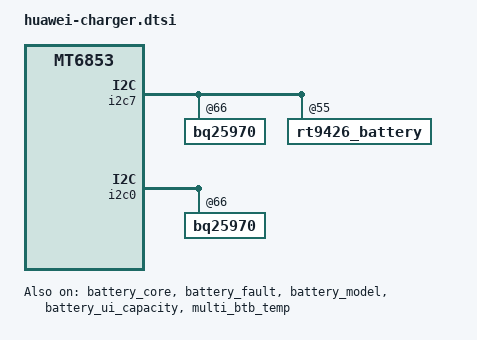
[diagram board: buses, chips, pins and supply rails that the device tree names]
#include "../huawei_charger/mt6853_jlh_huawei_charger.dtsi"

&i2c7 {
	bq25970@65 {
		status = "disabled";
	};

	bq25970@66 {
		i2c_recovery_addr = <0x65>;
		status = "ok";
	};
};
&i2c0 {
	bq25970@65 {
		status = "disabled";
	};

	bq25970@66 {
		i2c_recovery_addr = <0x65>;
		status = "ok";
	};
};
&i2c7 {
	rt9426_battery@55{
		status = "ok";
	};
};
&huawei_battery {
	use_third_coul = <1>;
};

&huawei_power_proxy  {
	status = "ok";
};
&huawei_power_supply {
	status = "ok";
};
&battery_core {
	status = "ok";
};
&battery_fault {
	status = "ok";
};
&battery_model {
	status = "ok";
};
&battery_ui_capacity {
	status = "ok";
};
&bat_gm30 {
	status = "disabled";
};
&multi_btb_temp {
	status = "ok";
	ntc_compensation_is = <1>;
	comp_para =
		"110000", "16000",
		"100000", "13000",
		"90000", "11000",
		"80000", "9000",
		"70000", "7000",
		"60000", "5000",
		"50000", "4000",
		"30000", "2000",
		"20000", "1000";
	comp_para1 =
		"110000", "14000",
		"100000", "12000",
		"90000", "10000",
		"80000", "8000",
		"70000", "6000",
		"60000", "5000",
		"50000", "4000",
		"30000", "2000",
		"20000", "1000";
	sensor-names =
		"mtk_batt_temp", "comp_para",
		"rt_battery", "comp_para1";
};

